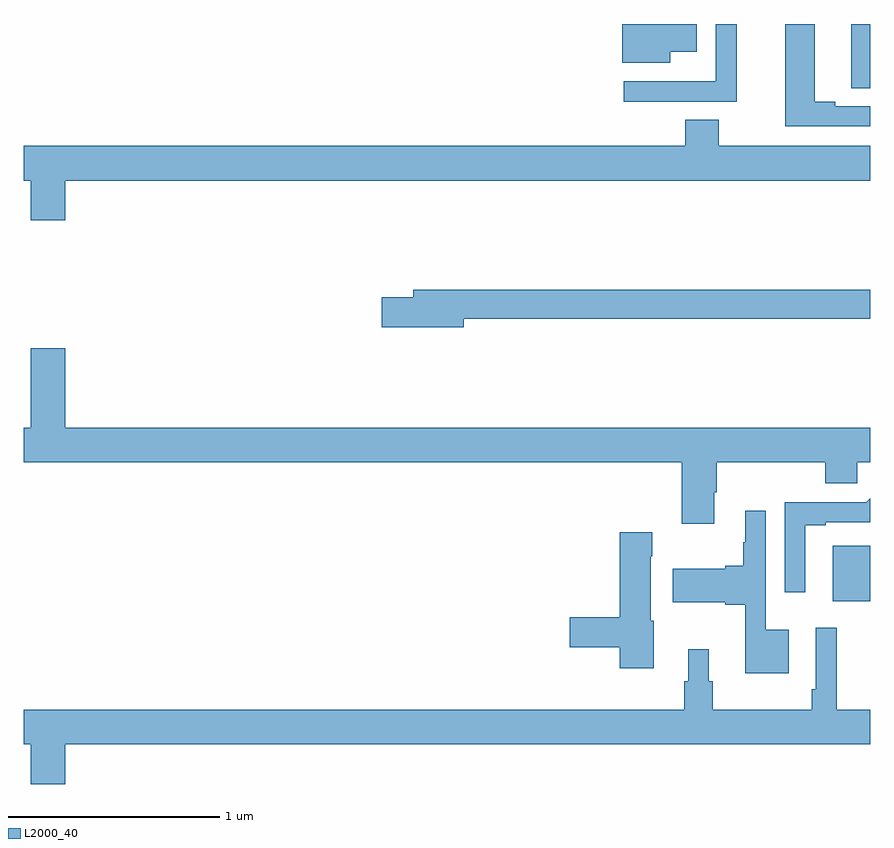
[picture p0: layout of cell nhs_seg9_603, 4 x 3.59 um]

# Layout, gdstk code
import gdstk
lib = gdstk.Library(unit=1e-6, precision=1e-09)
def R(c, l, rs):  # rectangles x0, y0, x1, y1
    for r in rs: c.add(gdstk.rectangle(r[:2], r[2:], *l))
def P(c, l, *ps):  # polygons
    for p in ps: c.add(gdstk.Polygon(p, *l))
L2000_40 = (2000, 40)

nhs_seg9_603 = lib.new_cell('nhs_seg9_603')
R(nhs_seg9_603, L2000_40, [(144.824,1187.771,145,1188.034), (144.911,1190.197,145,1190.5)])
P(nhs_seg9_603, L2000_40, [(145,1190.112),(144.835,1190.112),(144.835,1190.132),(144.739,1190.132),(144.739,1190.5),(144.599,1190.5),(144.599,1190.016),(145,1190.016)],
  [(144.369,1190.5),(144.27,1190.5),(144.27,1190.23),(144.269,1190.23),(144.269,1190.229),(143.835,1190.229),(143.835,1190.133),(144.369,1190.133)],
  [(144.055,1190.369),(144.181,1190.369),(144.181,1190.5),(143.828,1190.5),(143.828,1190.318),(144.055,1190.318)],
  [(141.196,1189.76),(145,1189.76),(145,1189.924),(144.285,1189.924),(144.285,1190.048),(144.125,1190.048),(144.125,1189.924),(141,1189.924),(141,1189.76),(141.032,1189.76),(141.032,1189.572),(141.196,1189.572)],
  [(143.08,1189.108),(145,1189.108),(145,1189.244),(142.841,1189.244),(142.841,1189.208),(142.692,1189.208),(142.692,1189.066),(143.08,1189.066)],
  [(144.262,1188.286),(144.275,1188.286),(144.275,1188.428),(144.788,1188.428),(144.788,1188.33),(144.939,1188.33),(144.939,1188.428),(145,1188.428),(145,1188.592),(141.196,1188.592),(141.196,1188.967),(141.032,1188.967),(141.032,1188.592),(141,1188.592),(141,1188.428),(144.11,1188.428),(144.11,1188.138),(144.262,1188.138)],
  [(144.694,1188.132),(144.79,1188.132),(144.79,1188.144),(145,1188.144),(145,1188.259),(144.981,1188.24),(144.597,1188.24),(144.597,1187.814),(144.694,1187.814)],
  [(144.616,1187.638),(144.507,1187.638),(144.507,1188.199),(144.41,1188.199),(144.41,1188.05),(144.399,1188.05),(144.399,1187.939),(144.314,1187.939),(144.314,1187.926),(144.066,1187.926),(144.066,1187.768),(144.314,1187.768),(144.314,1187.756),(144.41,1187.756),(144.41,1187.432),(144.616,1187.432)],
  [(143.976,1187.679),(143.962,1187.679),(143.962,1187.984),(143.97,1187.984),(143.97,1188.097),(143.816,1188.097),(143.816,1187.696),(143.58,1187.696),(143.58,1187.554),(143.816,1187.554),(143.816,1187.456),(143.976,1187.456)],
  [(141.196,1187.096),(145,1187.096),(145,1187.26),(144.842,1187.26),(144.842,1187.647),(144.744,1187.647),(144.744,1187.356),(144.724,1187.356),(144.724,1187.26),(144.257,1187.26),(144.257,1187.394),(144.238,1187.394),(144.238,1187.545),(144.14,1187.545),(144.14,1187.394),(144.121,1187.394),(144.121,1187.26),(141,1187.26),(141,1187.096),(141.032,1187.096),(141.032,1186.908),(141.196,1186.908)])

lib.write_gds('nhs_seg9_603.gds')
